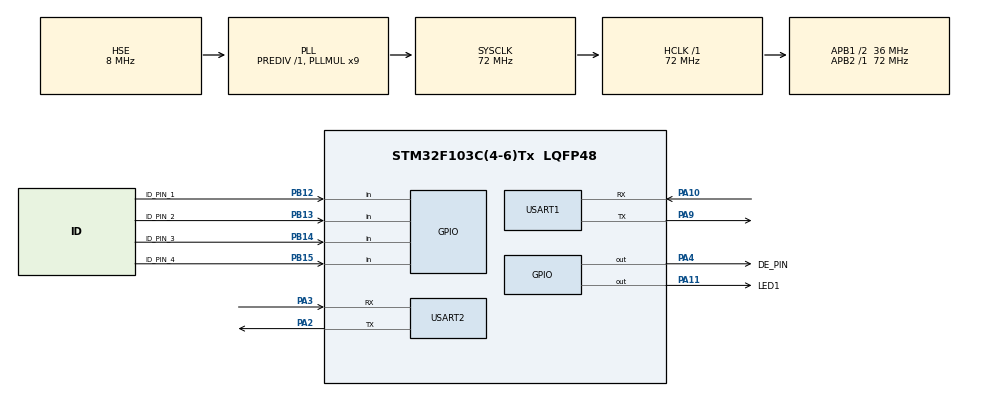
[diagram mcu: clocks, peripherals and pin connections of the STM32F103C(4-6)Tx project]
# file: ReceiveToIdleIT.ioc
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Dma.Request0=USART1_TX
Dma.Request1=USART2_RX
Dma.Request2=USART2_TX
Dma.Request3=USART1_RX
Dma.USART1_RX.3.Direction=DMA_PERIPH_TO_MEMORY
Dma.USART1_RX.3.Instance=DMA1_Channel5
Dma.USART1_RX.3.MemDataAlignment=DMA_MDATAALIGN_BYTE
Dma.USART1_RX.3.MemInc=DMA_MINC_ENABLE
Dma.USART1_RX.3.Mode=DMA_NORMAL
Dma.USART1_RX.3.PeriphDataAlignment=DMA_PDATAALIGN_BYTE
Dma.USART1_RX.3.PeriphInc=DMA_PINC_DISABLE
Dma.USART1_RX.3.Priority=DMA_PRIORITY_HIGH
Dma.USART1_TX.0.Direction=DMA_MEMORY_TO_PERIPH
Dma.USART1_TX.0.Instance=DMA1_Channel4
Dma.USART1_TX.0.MemDataAlignment=DMA_MDATAALIGN_BYTE
Dma.USART1_TX.0.MemInc=DMA_MINC_ENABLE
Dma.USART1_TX.0.Mode=DMA_NORMAL
Dma.USART1_TX.0.PeriphDataAlignment=DMA_PDATAALIGN_BYTE
Dma.USART1_TX.0.PeriphInc=DMA_PINC_DISABLE
Dma.USART1_TX.0.Priority=DMA_PRIORITY_HIGH
Dma.USART2_RX.1.Direction=DMA_PERIPH_TO_MEMORY
Dma.USART2_RX.1.Instance=DMA1_Channel6
Dma.USART2_RX.1.MemDataAlignment=DMA_MDATAALIGN_BYTE
Dma.USART2_RX.1.MemInc=DMA_MINC_ENABLE
Dma.USART2_RX.1.Mode=DMA_NORMAL
Dma.USART2_RX.1.PeriphDataAlignment=DMA_PDATAALIGN_BYTE
Dma.USART2_RX.1.PeriphInc=DMA_PINC_DISABLE
Dma.USART2_RX.1.Priority=DMA_PRIORITY_LOW
Dma.USART2_TX.2.Direction=DMA_MEMORY_TO_PERIPH
Dma.USART2_TX.2.Instance=DMA1_Channel7
Dma.USART2_TX.2.MemDataAlignment=DMA_MDATAALIGN_BYTE
Dma.USART2_TX.2.MemInc=DMA_MINC_ENABLE
Dma.USART2_TX.2.Mode=DMA_NORMAL
Dma.USART2_TX.2.PeriphDataAlignment=DMA_PDATAALIGN_BYTE
Dma.USART2_TX.2.PeriphInc=DMA_PINC_DISABLE
Dma.USART2_TX.2.Priority=DMA_PRIORITY_LOW
Mcu.Family=STM32F1
Mcu.Name=STM32F103C(4-6)Tx
Mcu.Package=LQFP48
NVIC.DMA1_Channel4_IRQn=true\:0\:0\:false\:false\:true\:false\:true\:true
NVIC.DMA1_Channel5_IRQn=true\:0\:0\:false\:false\:true\:false\:true\:true
NVIC.DMA1_Channel6_IRQn=true\:0\:0\:false\:false\:true\:false\:true\:true
NVIC.DMA1_Channel7_IRQn=true\:0\:0\:false\:false\:true\:false\:true\:true
NVIC.PriorityGroup=NVIC_PRIORITYGROUP_4
NVIC.USART1_IRQn=true\:0\:0\:false\:false\:true\:true\:true\:true
NVIC.USART2_IRQn=true\:0\:0\:false\:false\:true\:true\:true\:true
PA10.Mode=Asynchronous
PA10.Signal=USART1_RX
PA11.GPIO_Label=LED1
PA11.Signal=GPIO_Output
PA13.Mode=Serial_Wire
PA13.Signal=SYS_JTMS-SWDIO
PA14.Mode=Serial_Wire
PA14.Signal=SYS_JTCK-SWCLK
PA2.Mode=Asynchronous
PA2.Signal=USART2_TX
PA3.Mode=Asynchronous
PA3.Signal=USART2_RX
PA4.GPIO_Label=DE_PIN
PA4.Signal=GPIO_Output
PA9.Mode=Asynchronous
PA9.Signal=USART1_TX
PB12.GPIO_Label=ID_PIN_1
PB12.Signal=GPIO_Input
PB13.GPIO_Label=ID_PIN_2
PB13.Signal=GPIO_Input
PB14.GPIO_Label=ID_PIN_3
PB14.Signal=GPIO_Input
PB15.GPIO_Label=ID_PIN_4
PB15.Signal=GPIO_Input
PD0-OSC_IN.Mode=HSE-External-Oscillator
PD0-OSC_IN.Signal=RCC_OSC_IN
PD1-OSC_OUT.Mode=HSE-External-Oscillator
PD1-OSC_OUT.Signal=RCC_OSC_OUT
ProjectManager.HeapSize=0x200
ProjectManager.StackSize=0x400
ProjectManager.TargetToolchain=MDK-ARM V5.32
RCC.AHBFreq_Value=72000000
RCC.APB1CLKDivider=RCC_HCLK_DIV2
RCC.APB1Freq_Value=36000000
RCC.APB1TimFreq_Value=72000000
RCC.APB2Freq_Value=72000000
RCC.APB2TimFreq_Value=72000000
RCC.HCLKFreq_Value=72000000
RCC.PLLMUL=RCC_PLL_MUL9
RCC.PLLSourceVirtual=RCC_PLLSOURCE_HSE
RCC.SYSCLKFreq_VALUE=72000000
RCC.SYSCLKSource=RCC_SYSCLKSOURCE_PLLCLK
RCC.USBFreq_Value=72000000
USART1.VirtualMode=VM_ASYNC
USART2.VirtualMode=VM_ASYNC
board=custom

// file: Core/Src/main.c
/* USER CODE BEGIN Header */
/**
  ******************************************************************************
  * @file           : main.c
  * @brief          : Main program body
  ******************************************************************************
  * @attention
  *
  * Copyright (c) 2022 STMicroelectronics.
  * All rights reserved.
  *
  * This software is licensed under terms that can be found in the LICENSE file
  * in the root directory of this software component.
  * If no LICENSE file comes with this software, it is provided AS-IS.
  *
  ******************************************************************************
  */
/* USER CODE END Header */
#include "main.h"
#include "dma.h"
#include "usart.h"
#include "gpio.h"

/* USER CODE BEGIN Includes */

#include "string.h"
#include "slavemodbus.h"
/* USER CODE END Includes */

/* USER CODE BEGIN PV */
extern UART_HandleTypeDef huart1;
extern UART_HandleTypeDef huart2;
extern DMA_HandleTypeDef hdma_usart1_rx;
extern DMA_HandleTypeDef hdma_usart2_rx;

extern uint8_t dist[1];
extern uint8_t dec[1];
/* USER CODE END PV */

void SystemClock_Config(void);

/* USER CODE BEGIN 0 */
#define RxBuf_SIZE 10
#define MainBuf_SIZE 9

uint8_t RxBuf[RxBuf_SIZE];
uint8_t MainBuf[MainBuf_SIZE];
const int HEADER = 0x59;
uint16_t check;
uint8_t dist[1];

void HAL_UARTEx_RxEventCallback(UART_HandleTypeDef *huart, uint16_t Size)
{
	if(huart->Instance == USART1)
	{
		memcpy (MainBuf,RxBuf,Size);
		if(MainBuf[0] == HEADER){
			if(MainBuf[1] == HEADER){
				check = MainBuf[0] + MainBuf[1] + MainBuf[2] + MainBuf[3] + MainBuf[4] + MainBuf[5] + MainBuf[6] + MainBuf[7];
				if(MainBuf[8] == (check & 0xff)){
					dist[0] = MainBuf[2] + MainBuf[3] * 256;
				}
			}
		}
		HAL_UARTEx_ReceiveToIdle_DMA(&huart1,RxBuf,RxBuf_SIZE);
	}
}
/* USER CODE END 0 */

int main(void)
{

  /* MCU Configuration--------------------------------------------------------*/

  /* Reset of all peripherals, Initializes the Flash interface and the Systick. */
  HAL_Init();

  /* Configure the system clock */
  SystemClock_Config();

  /* Initialize all configured peripherals */
  MX_GPIO_Init();
  MX_DMA_Init();
  MX_USART1_UART_Init();
  MX_USART2_UART_Init();
  /* USER CODE BEGIN 2 */

HAL_UARTEx_ReceiveToIdle_DMA(&huart1,RxBuf,RxBuf_SIZE);
__HAL_DMA_DISABLE_IT(&hdma_usart1_rx,DMA_IT_HT);
  /* USER CODE END 2 */

  /* Infinite loop */
  /* USER CODE BEGIN WHILE */
	HAL_GPIO_WritePin(DE_PIN_GPIO_Port,DE_PIN_Pin,1);

	binaryId();

  while (1)
  {

		HAL_UART_Transmit_DMA(&huart2,dec,1);

    /* USER CODE END WHILE */

  }
}

void SystemClock_Config(void)
{
  RCC_OscInitTypeDef RCC_OscInitStruct = {0};
  RCC_ClkInitTypeDef RCC_ClkInitStruct = {0};

  /** Initializes the RCC Oscillators according to the specified parameters
  * in the RCC_OscInitTypeDef structure.
  */
  RCC_OscInitStruct.OscillatorType = RCC_OSCILLATORTYPE_HSE;
  RCC_OscInitStruct.HSEState = RCC_HSE_ON;
  RCC_OscInitStruct.HSEPredivValue = RCC_HSE_PREDIV_DIV1;
  RCC_OscInitStruct.HSIState = RCC_HSI_ON;
  RCC_OscInitStruct.PLL.PLLState = RCC_PLL_ON;
  RCC_OscInitStruct.PLL.PLLSource = RCC_PLLSOURCE_HSE;
  RCC_OscInitStruct.PLL.PLLMUL = RCC_PLL_MUL9;
  if (HAL_RCC_OscConfig(&RCC_OscInitStruct) != HAL_OK)
  {
    Error_Handler();
  }

  /** Initializes the CPU, AHB and APB buses clocks
  */
  RCC_ClkInitStruct.ClockType = RCC_CLOCKTYPE_HCLK|RCC_CLOCKTYPE_SYSCLK
                              |RCC_CLOCKTYPE_PCLK1|RCC_CLOCKTYPE_PCLK2;
  RCC_ClkInitStruct.SYSCLKSource = RCC_SYSCLKSOURCE_PLLCLK;
  RCC_ClkInitStruct.AHBCLKDivider = RCC_SYSCLK_DIV1;
  RCC_ClkInitStruct.APB1CLKDivider = RCC_HCLK_DIV2;
  RCC_ClkInitStruct.APB2CLKDivider = RCC_HCLK_DIV1;

  if (HAL_RCC_ClockConfig(&RCC_ClkInitStruct, FLASH_LATENCY_2) != HAL_OK)
  {
    Error_Handler();
  }
}

void Error_Handler(void)
{
  __disable_irq();
  while (1)
  {
  }
}
